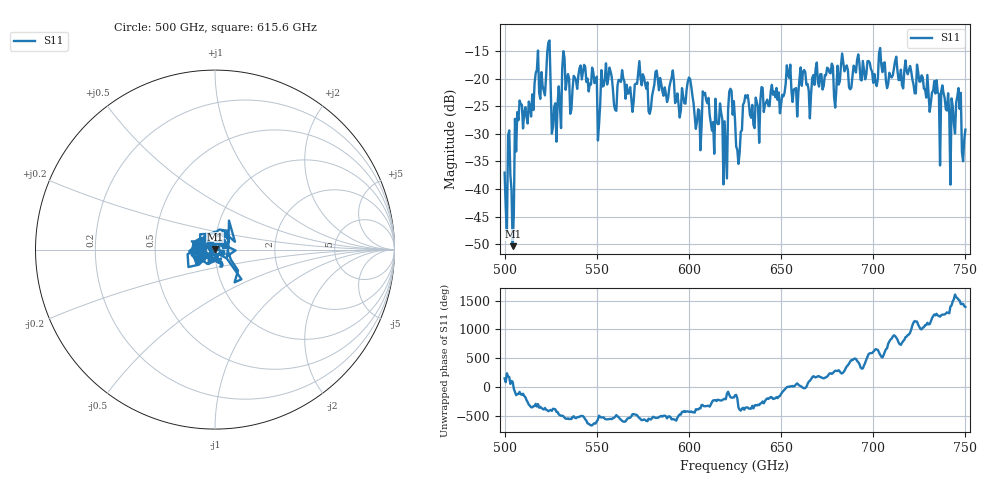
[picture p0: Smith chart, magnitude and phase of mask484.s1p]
!Created with skrf (http://scikit-rf.org).
# GHz S MA R 50.0
!freq magS11 angS11
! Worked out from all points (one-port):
!   401 points, 500 GHz to 750 GHz, reference 50 ohm
!   lowest |S11| = -50.3 dB at 504.4 GHz (marker M1), VSWR 1.01, Z = 50 + j0.304 ohm
!   |S11| at or under -10 dB: start of sweep to end of sweep
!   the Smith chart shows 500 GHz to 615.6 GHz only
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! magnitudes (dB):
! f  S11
! 500 GHz  -37.0
! 504.4 GHz  -50.3
! 508.1 GHz  -24.0
! 523.8 GHz  -13.4
! 526.9 GHz  -25.2
! 531.2 GHz  -18.2
! 548.8 GHz  -20.8
! 550.6 GHz  -31.2
! 553.8 GHz  -21.3
! 562.5 GHz  -20.3
! 573.8 GHz  -19.9
! 579.4 GHz  -25.4
! 590.6 GHz  -19.8
! 593.8 GHz  -22.7
! 600 GHz  -19.8
! 605 GHz  -25.6
! 608.8 GHz  -22.6
! 619.4 GHz  -27.7
! 622.5 GHz  -21.8
! 625 GHz  -27.5
! 626.9 GHz  -35.4
! 630.6 GHz  -23.0
! 656.2 GHz  -24.2
! 687.5 GHz  -21.9
! 718.8 GHz  -19.2
! 743.1 GHz  -25.0
! 746.2 GHz  -21.7
! 750 GHz  -29.2
